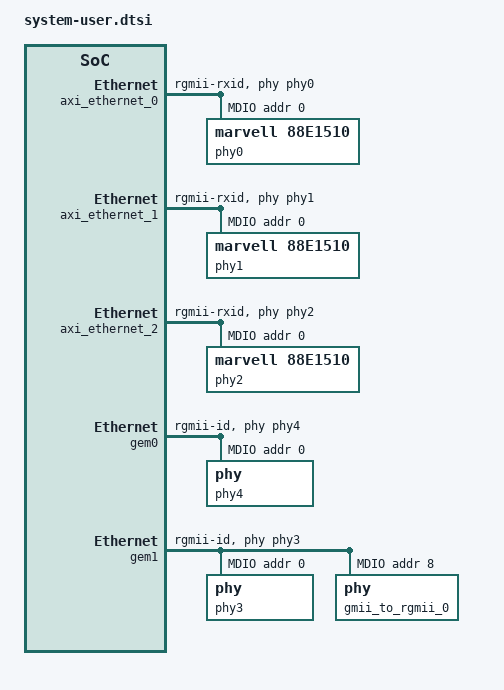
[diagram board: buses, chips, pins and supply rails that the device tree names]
/include/ "system-conf.dtsi"
/ {
};

    &axi_ethernet_0 {  
        local-mac-address = [00 0a 35 00 01 22];  
        phy-handle = <&phy0>;  
        xlnx,has-mdio = <0x1>;  
        phy-mode = "rgmii-rxid";  
        mdio {  
            #address-cells = <1>;  
            #size-cells = <0>;  
            phy0: phy@0 {  
                compatible = "marvell,88e1510";  
                device_type = "ethernet-phy";  
                reg = <0>;  
            };  
        };  
    };  
      
    &axi_ethernet_1 {  
        local-mac-address = [00 0a 35 00 01 23];  
        phy-handle = <&phy1>;  
        xlnx,has-mdio = <0x1>;  
        phy-mode = "rgmii-rxid";  
        mdio {  
            #address-cells = <1>;  
            #size-cells = <0>;  
            phy1: phy@0 {  
                compatible = "marvell,88e1510";  
                device_type = "ethernet-phy";  
                reg = <0>;  
            };  
        };  
    };  
      
    &axi_ethernet_2 {  
        local-mac-address = [00 0a 35 00 01 24];  
        phy-handle = <&phy2>;  
        xlnx,has-mdio = <0x1>;  
        phy-mode = "rgmii-rxid";  
        mdio {  
            #address-cells = <1>;  
            #size-cells = <0>;  
            phy2: phy@0 {  
                compatible = "marvell,88e1510";  
                device_type = "ethernet-phy";  
                reg = <0>;  
            };  
        };  
    };  
      
    &gem0 {
        local-mac-address = [00 0a 35 00 01 26];
        phy-handle = <&phy4>;
        phy-mode = "rgmii-id";
        status = "okay";
        xlnx,ptp-enet-clock = <0x69f6bcb>;
        xlnx,has-mdio = <0x1>;
        mdio {
                #address-cells = <1>;
                #size-cells = <0>;
                phy4: phy@0 {
                        /* compatible = "marvell,88e1510"; */
                        device_type = "ethernet-phy";
                        reg = <0>;
                };
        };
    };  
      
    &gem1 {
        local-mac-address = [00 0a 35 00 01 25];
        phy-handle = <&phy3>;
        gmii2rgmii-phy-handle = <&gmii_to_rgmii_0>;
        phy-mode = "rgmii-id";
        status = "okay";
        xlnx,ptp-enet-clock = <0x69f6bcb>;
        xlnx,has-mdio = <0x1>;
        mdio {
                #address-cells = <1>;
                #size-cells = <0>;
                phy3: phy@0 {
                        /* compatible = "marvell,88e1510"; */
                        device_type = "ethernet-phy";
                        reg = <0>;
                };
                gmii_to_rgmii_0: phy@8 {
                        device_type = "ethernet-phy";
                        reg = <8>;
                };
        };
    };  
      

